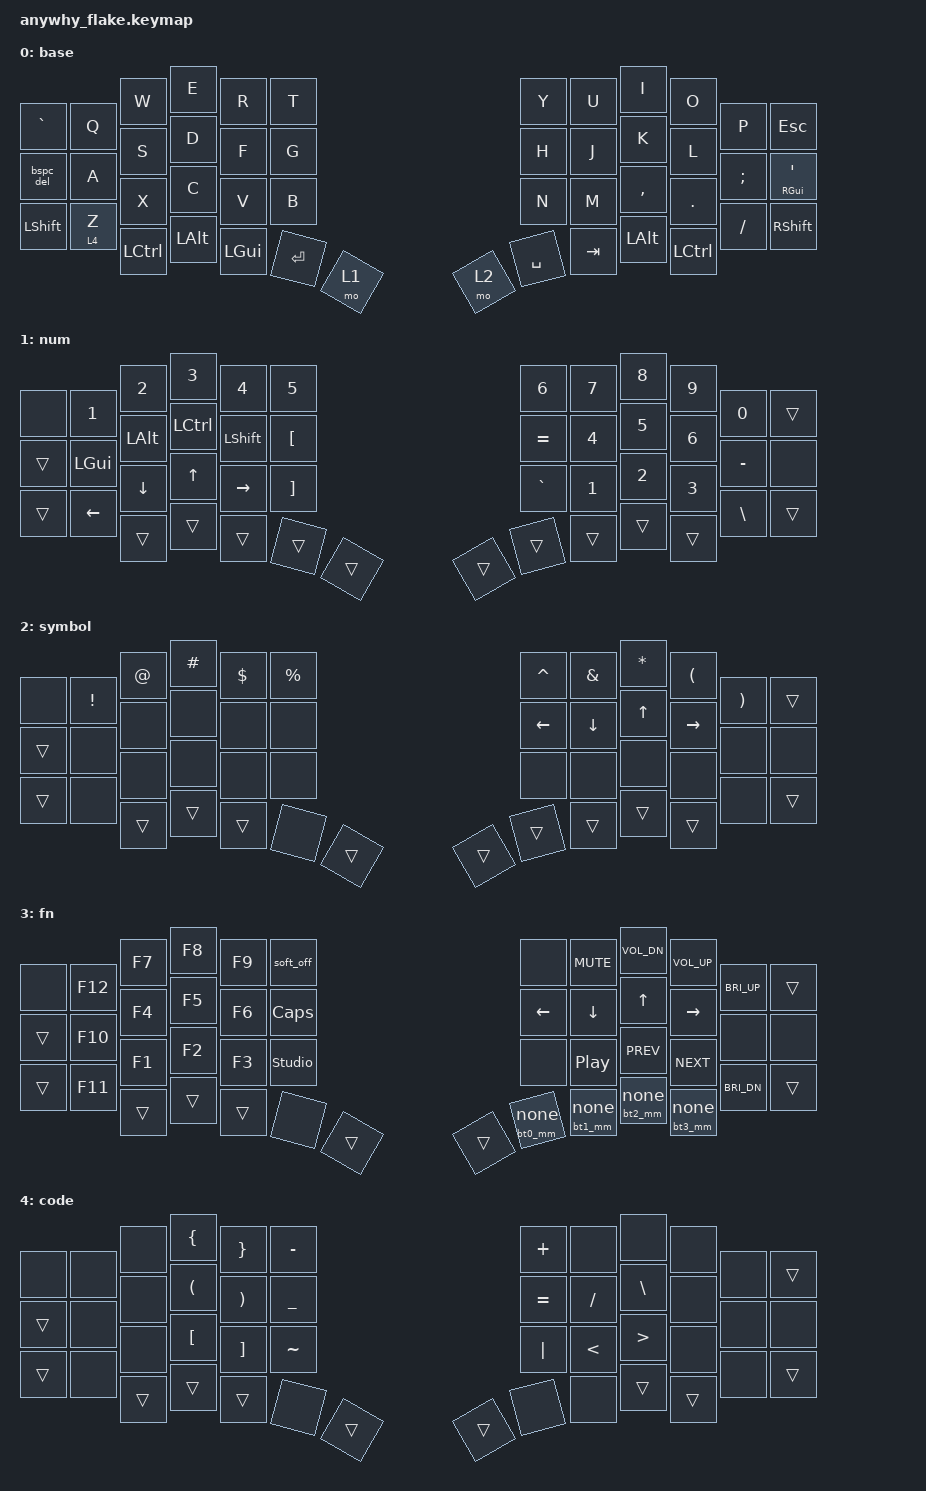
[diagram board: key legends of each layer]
#include <behaviors.dtsi>
#include <dt-bindings/zmk/bt.h>
#include <dt-bindings/zmk/keys.h>

/ {
    mt {
        flavor = "balanced";
    };

    behaviors {
        bt0_mm: bt0_mm {
            compatible = "zmk,behavior-mod-morph";
            label = "BT0_MM";
            bindings = <&bt BT_SEL 0>, <&bt_clr_0>;

            #binding-cells = <0>;
            mods = <(MOD_LSFT|MOD_RSFT)>;
        };

        bt0: bt0 {
            compatible = "zmk,behavior-hold-tap";
            label = "BT0";
            bindings = <&bt0_mm>, <&none>;
            #binding-cells = <2>;
            tapping-term-ms = <3000>;
            flavor = "hold-preferred";
        };

        bt1_mm: bt1_mm {
            compatible = "zmk,behavior-mod-morph";
            label = "BT1_MM";
            bindings = <&bt BT_SEL 1>, <&bt_clr_1>;

            #binding-cells = <0>;
            mods = <(MOD_LSFT|MOD_RSFT)>;
        };

        bt1: bt1 {
            compatible = "zmk,behavior-hold-tap";
            label = "BT1";
            bindings = <&bt1_mm>, <&none>;
            #binding-cells = <2>;
            tapping-term-ms = <3000>;
            flavor = "hold-preferred";
        };

        bt2_mm: bt2_mm {
            compatible = "zmk,behavior-mod-morph";
            label = "BT2_MM";
            bindings = <&bt BT_SEL 2>, <&bt_clr_2>;

            #binding-cells = <0>;
            mods = <(MOD_LSFT|MOD_RSFT)>;
        };

        bt2: bt2 {
            compatible = "zmk,behavior-hold-tap";
            label = "BT2";
            bindings = <&bt2_mm>, <&none>;
            #binding-cells = <2>;
            tapping-term-ms = <3000>;
            flavor = "hold-preferred";
        };

        bt3_mm: bt3_mm {
            compatible = "zmk,behavior-mod-morph";
            label = "BT3_MM";
            bindings = <&bt BT_SEL 3>, <&bt_clr_3>;

            #binding-cells = <0>;
            mods = <(MOD_LSFT|MOD_RSFT)>;
        };

        bt3: bt3 {
            compatible = "zmk,behavior-hold-tap";
            label = "BT3";
            bindings = <&bt3_mm>, <&none>;
            #binding-cells = <2>;
            tapping-term-ms = <3000>;
            flavor = "hold-preferred";
        };

        bt4: bt4 {
            compatible = "zmk,behavior-mod-morph";
            label = "BT4";
            bindings = <&bt BT_SEL 4>, <&bt_clr_4>;

            #binding-cells = <0>;
            mods = <(MOD_LSFT|MOD_RSFT)>;
        };

        bspc_del: bspc_del {
            compatible = "zmk,behavior-mod-morph";
            label = "BSPC_DEL";
            bindings = <&kp BSPC>, <&kp DEL>;

            #binding-cells = <0>;
            mods = <(MOD_LSFT|MOD_RSFT)>;
        };
    };

    conditional_layers {
        compatible = "zmk,conditional-layers";
        tri_layer {
            if-layers = <1 2>;
            then-layer = <3>;
        };
    };

    combos {
        compatible = "zmk,combos";

        bt_sel_3 {
            bindings = <&bt3 0 0>;
            key-positions = <42 30>;
            layers = <2>;
        };

        bt_sel_4 {
            bindings = <&bt4 0 0>;
            key-positions = <30 18>;
            layers = <2>;
        };

        jk_escape {
            bindings = <&kp ESC>;
            key-positions = <19 20>;
            layers = <0>;
        };

        shift_capslock {
            bindings = <&kp CAPS>;
            key-positions = <24 35>;
            layers = <0>;
        };
    };

    macros {
        bt_clr_0: bt_clr_0 {
            compatible = "zmk,behavior-macro";
            #binding-cells = <0>;
            bindings = <&bt BT_SEL 0 &bt BT_CLR>;
            label = "BT_CLR_0";
        };

        bt_clr_1: bt_clr_1 {
            compatible = "zmk,behavior-macro";
            #binding-cells = <0>;
            bindings = <&bt BT_SEL 1 &bt BT_CLR>;
            label = "BT_CLR_1";
        };

        bt_clr_2: bt_clr_2 {
            compatible = "zmk,behavior-macro";
            #binding-cells = <0>;
            bindings = <&bt BT_SEL 2 &bt BT_CLR>;
            label = "BT_CLR_2";
        };

        bt_clr_3: bt_clr_3 {
            compatible = "zmk,behavior-macro";
            #binding-cells = <0>;
            bindings = <&bt BT_SEL 3 &bt BT_CLR>;
            label = "BT_CLR_3";
        };

        bt_clr_4: bt_clr_4 {
            compatible = "zmk,behavior-macro";
            #binding-cells = <0>;
            bindings = <&bt BT_SEL 4 &bt BT_CLR>;
            label = "BT_CLR_4";
        };
    };


    keymap {
        compatible = "zmk,keymap";

        base {
            bindings = <
&kp GRAVE  &kp Q      &kp W     &kp E      &kp R      &kp T     &kp Y   &kp U      &kp I      &kp O     &kp P      &kp ESC
&bspc_del  &kp A      &kp S     &kp D      &kp F      &kp G     &kp H   &kp J      &kp K      &kp L     &kp SEMI   &mt RGUI APOS
&kp LSHFT  &lt 4 Z    &kp X     &kp C      &kp V      &kp B     &kp N   &kp M      &kp COMMA  &kp DOT   &kp FSLH   &kp RSHFT
           &kp LCTRL  &kp LALT  &kp LGUI   &kp ENTER  &mo 1     &mo 2   &kp SPACE  &kp TAB    &kp LALT  &kp LCTRL
            >;
        };

        num {
            bindings = <
&none  &kp N1    &kp N2    &kp N3     &kp N4     &kp N5      &kp N6     &kp N7  &kp N8  &kp N9  &kp N0     &trans
&trans &kp LGUI  &kp LALT  &kp LCTRL  &kp LSHFT  &kp LBKT    &kp EQUAL  &kp N4  &kp N5  &kp N6  &kp MINUS  &none
&trans &kp LEFT  &kp DOWN  &kp UP     &kp RIGHT  &kp RBKT    &kp GRAVE  &kp N1  &kp N2  &kp N3  &kp BSLH   &trans
       &trans    &trans    &trans     &trans     &trans      &trans     &trans  &trans  &trans  &trans
            >;
        };

        symbol {
            bindings = <
&none  &kp EXCL  &kp AT  &kp HASH  &kp DOLLAR  &kp PRCNT    &kp CARET  &kp AMPS  &kp ASTRK   &kp LPAR    &kp RPAR      &trans
&trans &none     &none   &none     &none       &none        &kp LEFT   &kp DOWN  &kp UP      &kp RIGHT   &none         &none
&trans &none     &none   &none     &none       &none        &none      &none     &none       &none       &none         &trans
       &trans    &trans  &trans    &none       &trans       &trans     &trans    &trans      &trans      &trans
            >;
        };

        fn {
            bindings = <
&none  &kp F12  &kp F7  &kp F8  &kp F9  &soft_off         &none     &kp C_MUTE  &kp C_VOL_DN  &kp C_VOL_UP  &kp C_BRI_UP  &trans
&trans &kp F10  &kp F4  &kp F5  &kp F6  &kp CAPS          &kp LEFT  &kp DOWN    &kp UP        &kp RIGHT     &none         &none
&trans &kp F11  &kp F1  &kp F2  &kp F3  &studio_unlock    &none     &kp C_PP    &kp C_PREV    &kp C_NEXT    &kp C_BRI_DN  &trans
       &trans   &trans  &trans  &none   &trans            &trans    &bt0 0 0    &bt1 0 0      &bt2 0 0      &bt3 0 0
            >;
        };

        code {
            bindings = <
&none  &none   &none   &kp LBRC  &kp RBRC  &kp MINUS    &kp PLUS   &none     &none     &none   &none  &trans
&trans &none   &none   &kp LPAR  &kp RPAR  &kp UNDER    &kp EQUAL  &kp FSLH  &kp BSLH  &none   &none  &none
&trans &none   &none   &kp LBKT  &kp RBKT  &kp TILDE    &kp PIPE   &kp LT    &kp GT    &none   &none  &trans
       &trans  &trans  &trans    &none     &trans       &trans     &none     &none     &trans  &trans
            >;
        };

        extra1 { status = "reserved"; };
        extra2 { status = "reserved"; };
        extra3 { status = "reserved"; };
        extra4 { status = "reserved"; };
        extra5 { status = "reserved"; };
    };
};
